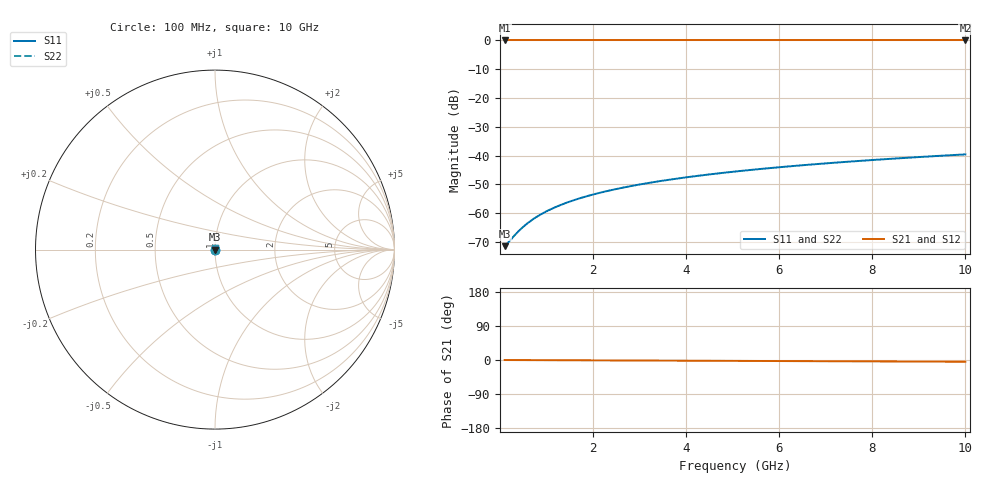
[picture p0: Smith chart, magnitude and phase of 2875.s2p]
# Hz S RI R 50.00
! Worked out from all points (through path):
!   100 points, 100 MHz to 10 GHz, reference 50 ohm
!   highest |S21| = 0.00 dB at 100 MHz (marker M1); lowest = 0.0 dB at 10 GHz (marker M2)
!   lowest |S11| = -71.5 dB at 100 MHz (marker M3), VSWR 1.00, Z = 50 + j0.0105 ohm
!   |S11| at or under -10 dB: start of sweep to end of sweep
!   |S22| runs from -71.5 to -39.6 dB; largest |S21 - S12| = 1e-15
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1e8  0.000246 0.000105  0.9998 -0.000799  0.9998 -0.000799  0.000246 0.000105
2e8  0.000248 0.000209  0.9997 -0.0016  0.9997 -0.0016  0.000248 0.000209
3e8  0.000249 0.000314  0.9997 -0.0024  0.9997 -0.0024  0.000249 0.000314
4e8  0.00025 0.000418  0.9997 -0.0032  0.9997 -0.0032  0.00025 0.000418
5e8  0.000252 0.000523  0.9997 -0.004  0.9997 -0.004  0.000252 0.000523
6e8  0.000253 0.000627  0.9997 -0.0048  0.9997 -0.0048  0.000253 0.000627
7e8  0.000254 0.000732  0.9997 -0.0056  0.9997 -0.0056  0.000254 0.000732
8e8  0.000256 0.000837  0.9997 -0.0064  0.9997 -0.0064  0.000256 0.000837
1e9  0.00026 0.00105  0.9997 -0.008  0.9997 -0.008  0.00026 0.00105
1.2e9  0.000264 0.00125  0.9997 -0.0096  0.9997 -0.0096  0.000264 0.00125
1.5e9  0.000271 0.00157  0.9997 -0.012  0.9997 -0.012  0.000271 0.00157
1.8e9  0.000279 0.00188  0.9996 -0.0144  0.9996 -0.0144  0.000279 0.00188
2.1e9  0.000289 0.00219  0.9996 -0.0168  0.9996 -0.0168  0.000289 0.00219
2.5e9  0.000305 0.00261  0.9995 -0.02  0.9995 -0.02  0.000305 0.00261
2.9e9  0.000323 0.00303  0.9995 -0.0232  0.9995 -0.0232  0.000323 0.00303
3.4e9  0.00035 0.00355  0.9993 -0.0272  0.9993 -0.0272  0.00035 0.00355
4.2e9  0.0004 0.00438  0.9991 -0.0336  0.9991 -0.0336  0.0004 0.00438
5.1e9  0.00047 0.00532  0.9989 -0.0409  0.9989 -0.0409  0.00047 0.00532
5.9e9  0.000544 0.00615  0.9986 -0.0473  0.9986 -0.0473  0.000544 0.00615
6.7e9  0.000629 0.00698  0.9982 -0.0537  0.9982 -0.0537  0.000629 0.00698
8.4e9  0.000845 0.00876  0.9974 -0.0675  0.9974 -0.0675  0.000845 0.00876
1e10  0.0011 0.0104  0.9964 -0.0804  0.9964 -0.0804  0.0011 0.0104
